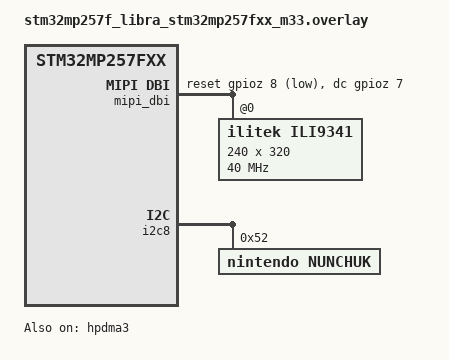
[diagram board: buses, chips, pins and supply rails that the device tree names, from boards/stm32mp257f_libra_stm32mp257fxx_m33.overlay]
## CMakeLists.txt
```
cmake_minimum_required(VERSION 3.28.0)
# Copyright (c) 2020 STMicroelectronics
#
# SPDX-License-Identifier: Apache-2.0
#

find_package(Zephyr REQUIRED HINTS $ENV{ZEPHYR_BASE})

project(demo_openamp)

target_include_directories(app PRIVATE ${LIBMETAL_INCLUDE_DIR} ${OPENAMP_INCLUDE_DIR} ${PLATFORM_DIR})

FILE(GLOB app_sources src/*.c)
target_sources(app PRIVATE ${app_sources})

# Mes fichiers UI : tout en DDR
zephyr_code_relocate(FILES src/ui.c src/show_hour.c LOCATION DDRAPP_TEXT NOCOPY)
zephyr_code_relocate(FILES src/ui.c src/show_hour.c LOCATION DDRAPP_RODATA NOCOPY)
zephyr_code_relocate(FILES src/ui.c src/show_hour.c LOCATION DDRAPP_DATA NOCOPY)
zephyr_code_relocate(FILES src/ui.c src/show_hour.c LOCATION DDRAPP_BSS)

# Lib LVGL (cœur + glue Zephyr, polices incluses)
zephyr_code_relocate(LIBRARY modules__lvgl LOCATION DDRAPP_TEXT NOCOPY)
zephyr_code_relocate(LIBRARY modules__lvgl LOCATION DDRAPP_RODATA NOCOPY)
zephyr_code_relocate(LIBRARY modules__lvgl LOCATION DDRAPP_DATA NOCOPY)
zephyr_code_relocate(LIBRARY modules__lvgl LOCATION DDRAPP_BSS)
```

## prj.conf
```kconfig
# --- Base ---
CONFIG_PRINTK=y
CONFIG_IPM=y
# CONFIG_MAIN_STACK_SIZE=1024
CONFIG_HEAP_MEM_POOL_SIZE=16384
# CONFIG_LOG=y

# --- I2C + LED (PCA9633) ---
CONFIG_I2C=y
CONFIG_LED=y
CONFIG_PCA9633=y

# --- Écran SPI (ILI9341) + DMA ---
CONFIG_SPI=y
CONFIG_SPI_STM32_DMA=y
CONFIG_DMA_STM32U5=y
CONFIG_DISPLAY=y


# --- LVGL ---
CONFIG_LVGL=y
CONFIG_LV_USE_LABEL=y
CONFIG_LV_USE_BAR=y
CONFIG_LV_FONT_MONTSERRAT_20=y
CONFIG_LV_FONT_MONTSERRAT_18=y
CONFIG_LV_FONT_MONTSERRAT_14=y
CONFIG_LV_USE_BUTTON=y
CONFIG_LV_COLOR_16_SWAP=y

# --- LVGL piles ---
CONFIG_LV_Z_MEM_POOL_SIZE=32768
CONFIG_LV_Z_FLUSH_THREAD=n
CONFIG_LV_Z_BITS_PER_PIXEL=16
CONFIG_LV_Z_DOUBLE_VDB=y
CONFIG_LV_Z_VDB_SIZE=8

# Piles élargies (nécessaire, sans ça crash silencieux avant boot)
CONFIG_MAIN_STACK_SIZE=8192
CONFIG_SYSTEM_WORKQUEUE_STACK_SIZE=8192
CONFIG_HW_STACK_PROTECTION=y
CONFIG_THREAD_STACK_INFO=n

# --- GPIO (wake up) ---
CONFIG_GPIO=y

# --- Nunchuk ---
CONFIG_INPUT=y
CONFIG_INPUT_LOG_LEVEL_OFF=y
CONFIG_INPUT_NUNCHUK=y
CONFIG_INPUT_NUNCHUK_ACCELERATION=y

# --- OpenAmp ---
CONFIG_SHELL=y
CONFIG_SHELL_BACKEND_RPMSG=y
CONFIG_OPENAMP=y
CONFIG_OPENAMP_RSC_TABLE_NUM_RPMSG_BUFF=8
CONFIG_OPENAMP_RSC_TABLE=y
CONFIG_OPENAMP_MASTER=n

# --- Remap DDR/RETRAM ---
CONFIG_CODE_DATA_RELOCATION=y

# CONFIG_LOG_MODE_IMMEDIATE=y
# CONFIG_THREAD_ANALYZER=y
# CONFIG_THREAD_ANALYZER_USE_PRINTK=y
# CONFIG_THREAD_ANALYZER_AUTO=y
```

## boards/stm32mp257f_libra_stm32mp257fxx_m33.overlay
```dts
/*
 * Copyright (C) 2025 PHYTEC Messtechnik GmbH
 * Authors: Hong-Ly Ky <h.ky@phytec.fr>
 *          Christophe Parant <c.parant@phytec.fr>
 *          Nicolas Raimundo <n.raimundo@phytec.fr>
 */
 
/delete-node/ &ddr_code;
/delete-node/ &ddr_sys;

#include <zephyr/dt-bindings/display/panel.h>
#include <zephyr/dt-bindings/input/input-event-codes.h>
#include <zephyr/dt-bindings/dma/stm32_dma.h>

/ {
	/* Remap to SRAM1 physical address */
	ddr_code: memory0@a043000 {
	reg = <0xa043000 0x1d000>;
	ranges = <0x0 0xa043000 0x1d000>;
	#address-cells = <1>;
	#size-cells = <1>;
	};

	/* Remap to RETRAM physical address */
	ddr_sys: memory1@a080000 {
	reg = <0xa080000 0x1f000>;
	ranges = <0x0 0xa080000 0x1f000>;
	#address-cells = <1>;
	#size-cells = <1>;
	};

	/* Map to DDR the DDR APP (LVGL UI)*/
	ddr_app: memory0@80100000 {
		compatible = "zephyr,memory-region", "mmio-sram";
		reg = <0x80100000 DT_SIZE_M(8)>;
		zephyr,memory-region = "DDRAPP";
	};

	aliases {
		nunchuk0 = &nunchuk;
	};

	chosen {
		/*
			* shared memory reserved for the inter-processor communication
			*/
		zephyr,ipc_shm = &ipc_shmem;
		zephyr,ipc = &mailbox;
		zephyr,display=&ili9341;
	};

	mipi_dbi {
		compatible = "zephyr,mipi-dbi-spi";
		dc-gpios = <&gpioz 7 GPIO_ACTIVE_HIGH>;
		reset-gpios = <&gpioz 8 GPIO_ACTIVE_LOW>;
		write-only;
		#address-cells = <1>;
		#size-cells = <0>;
		spi-dev = <&spi2>;

		ili9341: ili9341@0 {
			compatible = "ilitek,ili9341";
			mipi-max-frequency = <40000000>;
			reg = <0>;
			width = <240>;
			height = <320>;
			rotation = <180>;
			pixel-format = <PANEL_PIXEL_FORMAT_RGB_565>;
			h-mirror;
		};
	};

	soc {

		hpdma3: hpdma@40420000 {
			compatible = "st,stm32u5-dma";
			#dma-cells = <3>;
			reg = <0x40420000 0x1000>;
			clocks = <&rcc STM32_CLOCK(HPDMA3, 1)>;
			interrupts = <65 0>, <66 0>, <67 0>, <68 0>, <69 0>, <70 0>, <71 0>, <72 0>,
			<73 0>, <74 0>, <75 0>, <76 0>, <77 0>, <78 0>, <79 0>, <80 0>;
			dma-channels = <16>;
			dma-requests = <184>;
			status = "okay";
		};

	};

	ipc_shmem: memory1@81200000 {
		compatible = "mmio-sram";
		reg = <0x81200000 DT_SIZE_M(1)>;
	};
};


&i2c8 {
	status = "okay";
	nunchuk: joystick@52 {
		compatible = "nintendo,nunchuk";
		reg = <0x52>;
		status = "okay";
	};
};

&spi2 {
    dmas = <&hpdma3 0 51 (STM32_DMA_PERIPH_RX | STM32_DMA_PRIORITY_MEDIUM)>,
           <&hpdma3 1 52 (STM32_DMA_PERIPH_TX | STM32_DMA_PRIORITY_MEDIUM)>;
    dma-names = "rx", "tx";
};
```

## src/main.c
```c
#include <zephyr/kernel.h>
#include <zephyr/logging/log.h>

#include "ui.h"
#include "cubes.h"

LOG_MODULE_DECLARE(openamp_rsc_table);

K_THREAD_STACK_DEFINE(thread_mng_stack, APP_TASK_STACK_SIZE);
K_THREAD_STACK_DEFINE(thread_tty_stack, APP_TTY_TASK_STACK_SIZE);

static struct k_thread thread_mng_data;
static struct k_thread thread_tty_data;

int main(void)
{
	LOG_INF("Starting application threads!");
	k_thread_create(&thread_mng_data, thread_mng_stack, APP_TASK_STACK_SIZE,
			rpmsg_mng_task,
			NULL, NULL, NULL, K_PRIO_COOP(8), 0, K_NO_WAIT);
	k_thread_create(&thread_tty_data, thread_tty_stack, APP_TTY_TASK_STACK_SIZE,
			app_rpmsg_tty,
			NULL, NULL, NULL, K_PRIO_COOP(7), 0, K_NO_WAIT);
	
	k_msleep(500);

	struct nunchuk_data_t actual_nunchuk = read_nunchuk();
	static enum main_state_t state = AWAKE;
	static enum main_state_t previous_state = AWAKE;
	static bool entry=false;
	while(1){
		actual_nunchuk = read_nunchuk();

		switch(state){
			case AWAKE:
				if (display(actual_nunchuk)==ID_SLEEP) {
					state=SLEEPING;
				};
				break;
			case SLEEPING:
				if(entry){
					int r = init_screen_cubes();
					if (r==-1){
						printk("ERROR INIT SCREEN CUBES");
						return -1;
					}	
				}
				if (cubes_screen(actual_nunchuk)==ID_WAKE){
					state=WAKING;
				}
				break;
			case WAKING:
				ui_resume();
				state = AWAKE;

				break;
			default:
				break;
		}
		entry = !(state==previous_state);
		previous_state=state;
		updateTime();
	}
	return 0;
}
```

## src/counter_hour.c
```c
#include "counter_hour.h"
static struct counter_clock_t counter_clock;

static int64_t time_start;
static int64_t time_now;

static bool init_time = false;

struct counter_clock_t getClock(){
    return counter_clock;
}

void setClock(struct counter_clock_t received_clock){
    counter_clock.year = received_clock.year;
    counter_clock.month = received_clock.month;
    counter_clock.day = received_clock.day;
    counter_clock.hour = received_clock.hour;
    counter_clock.minutes = received_clock.minutes;
    counter_clock.seconds = 0;
}

void updateTime(){
    if(!init_time){
        time_start = k_uptime_get();
        init_time=true;
    }
    time_now = k_uptime_get();

    if(time_now-time_start>=1000){
        counter_clock.seconds++;
        time_start=time_now;
    }

    if(counter_clock.seconds >= 60){
        counter_clock.seconds = 0;
        counter_clock.minutes++;

        if(counter_clock.minutes >= 60){
            counter_clock.minutes = 0;
            counter_clock.hour++;

            if(counter_clock.hour >= 24){
                counter_clock.hour = 0;
                counter_clock.day++;

                if(counter_clock.day > days_in_month(counter_clock.month+1,counter_clock.year)){
                    counter_clock.day = 1;

                    if(counter_clock.month == 11){
                        counter_clock.month = 0;
                        counter_clock.year++;
                    }else{
                        counter_clock.month++;
                    }
                }
            }
        }
    }
}

int days_in_month(int month, int year){
    static const int days[] = {31,28,31,30,31,30,31,31,30,31,30,31};
    if (month == 2 && (year % 4 == 0 && (year % 100 != 0 || year % 400 == 0))) {
        return 29;
    }
    return days[month - 1];
}
```

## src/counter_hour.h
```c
#include <zephyr/kernel.h>

#ifndef COUNTER_HOUR_H
#define COUNTER_HOUR_H

struct counter_clock_t {
    int year;
    int month;
    int day;
    int hour;
    int minutes;
    int seconds;
};

struct counter_clock_t getClock(void);
void setClock(struct counter_clock_t received_clock);
void updateTime(void);
int days_in_month(int month, int year);

#endif /* COUNTER_HOUR_H */
```

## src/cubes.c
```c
#include <zephyr/kernel.h>
#include <zephyr/device.h>
#include <zephyr/drivers/display.h>
#include <zephyr/sys/byteorder.h>
#include <zephyr/drivers/led.h>
#include <zephyr/drivers/gpio.h>
#include <string.h>

#include "cubes.h"

#define SCALE        3
#define FONT_W       5
#define FONT_H       7
#define GW           (FONT_W * SCALE)
#define GH           (FONT_H * SCALE)
#define GAP          SCALE
#define NB_CHARS     8

#define COLOR_BG     0xFFFF
#define COLOR_FG     0x0000

#define RED_LED   0
#define GREEN_LED 1
#define BLUE_LED  2
#define PIN_NODE  DT_NODELABEL(gpioa)

#define GLYPH_COLON  10
#define GLYPH_NONE   0xFF

#define CUBE_W 20
#define CUBE_H 20

static const uint8_t font5x7[11][FONT_H] = {
    {0x0E, 0x11, 0x13, 0x15, 0x19, 0x11, 0x0E}, /* 0 */
    {0x04, 0x0C, 0x04, 0x04, 0x04, 0x04, 0x0E}, /* 1 */
    {0x0E, 0x11, 0x01, 0x02, 0x04, 0x08, 0x1F}, /* 2 */
    {0x1F, 0x02, 0x04, 0x02, 0x01, 0x11, 0x0E}, /* 3 */
    {0x02, 0x06, 0x0A, 0x12, 0x1F, 0x02, 0x02}, /* 4 */
    {0x1F, 0x10, 0x1E, 0x01, 0x01, 0x11, 0x0E}, /* 5 */
    {0x06, 0x08, 0x10, 0x1E, 0x11, 0x11, 0x0E}, /* 6 */
    {0x1F, 0x01, 0x02, 0x04, 0x08, 0x08, 0x08}, /* 7 */
    {0x0E, 0x11, 0x11, 0x0E, 0x11, 0x11, 0x0E}, /* 8 */
    {0x0E, 0x11, 0x11, 0x0F, 0x01, 0x02, 0x0C}, /* 9 */
    {0x00, 0x04, 0x04, 0x00, 0x04, 0x04, 0x00}, /* : */
};
static struct counter_clock_t c;
static uint8_t txt[NB_CHARS];

static const struct device *display_dev;
static const struct device *rgb;
static const struct device *gpio_wake_up;
static struct display_capabilities caps;

static uint16_t glyph_buf[GW * GH];

static uint16_t x0;
static uint16_t y0;
static uint8_t  shown[NB_CHARS];

static int64_t time_rgb = 0;
static int r = 100, g = 0, b = 0;
static int z_state = 0;
static int z_previous = 0;

static void change_color_led_rgb(int *r, int *g, int *b);
static void update_clock(void);

enum joy_state { 
    JOY_CENTER, 
    JOY_LEFT, 
    JOY_RIGHT 
};

static enum joy_state now = JOY_CENTER;
static enum joy_state last = JOY_CENTER;
static uint16_t cube_color = sys_cpu_to_be16(0xFFFF);
static uint16_t buf_color[CUBE_W * CUBE_H];
static uint16_t cube_x;
static uint16_t cube_y;
static bool reset_cube = false;
static int64_t time_start;
static int64_t time_now;
static struct display_buffer_descriptor desc = {
    .buf_size = sizeof(buf_color),
    .width    = CUBE_W,
    .height   = CUBE_H,
    .pitch    = CUBE_W,
}; 

static void draw_glyph(uint8_t idx, uint16_t px, uint16_t py)
{
    const uint16_t fg = sys_cpu_to_be16(COLOR_FG);
    const uint16_t bg = sys_cpu_to_be16(COLOR_BG);
    const struct display_buffer_descriptor d = {
        .buf_size = sizeof(glyph_buf),
        .width    = GW,
        .height   = GH,
        .pitch    = GW,
    };

    for (int y = 0; y < GH; y++) {
        uint8_t row = font5x7[idx][y / SCALE];
        for (int x = 0; x < GW; x++) {
            bool on = row & (1 << (FONT_W - 1 - (x / SCALE)));
            glyph_buf[y * GW + x] = on ? fg : bg;
        }
    }
    display_write(display_dev, px, py, &d, glyph_buf);
}

static void clear_screen(void)
{
    const uint16_t bg = sys_cpu_to_be16(COLOR_BG);

    for (int i = 0; i < GW * GH; i++) {
        glyph_buf[i] = bg;
    }

    for (uint16_t by = 0; by < caps.y_resolution; by += GH) {
        for (uint16_t bx = 0; bx < caps.x_resolution; bx += GW) {
            uint16_t w = MIN(GW, caps.x_resolution - bx);
            uint16_t h = MIN(GH, caps.y_resolution - by);
            struct display_buffer_descriptor d = {
                .buf_size = w * h * sizeof(uint16_t),
                .width    = w,
                .height   = h,
                .pitch    = w,
            };
            display_write(display_dev, bx, by, &d, glyph_buf);
        }
    }
}

int init_screen_cubes(void)
{
    display_dev = DEVICE_DT_GET(DT_CHOSEN(zephyr_display));
    if (!device_is_ready(display_dev)) {
        printk("Display non pret\n");
        return -1;
    }

    rgb = DEVICE_DT_GET(DT_ALIAS(rgb_led0));
    if (!device_is_ready(rgb)) {
        printk("PCA9633 not ready\n");
        return -1;
    }

    gpio_wake_up = DEVICE_DT_GET(PIN_NODE);
    if (!device_is_ready(gpio_wake_up)) {
        printk("GPIOA pas prêt\n");
        return -1;
    }

    gpio_pin_configure(gpio_wake_up, 3, GPIO_OUTPUT_LOW);
    display_get_capabilities(display_dev, &caps);
    clear_screen();

    const uint16_t total_w = NB_CHARS * GW + (NB_CHARS - 1) * GAP;
    x0 = (caps.x_resolution - total_w) / 2;
    y0 = (caps.y_resolution - GH) / 4;

    update_clock();

    for (int i = 0; i < NB_CHARS; i++) {
        draw_glyph(txt[i], x0 + i * (GW + GAP), y0);
        shown[i] = txt[i];
    }
    cube_x = (caps.x_resolution - CUBE_W) / 2;
    cube_y = (caps.y_resolution - CUBE_H) / 2;
    cube_color = sys_cpu_to_be16(0x001F);
    display_write(display_dev,cube_x+50,cube_y,&desc,buf_color);
    display_write(display_dev,cube_x-50,cube_y,&desc,buf_color);
    display_blanking_off(display_dev);
    time_rgb = k_uptime_get();
    time_start = k_uptime_get();
    time_now = k_uptime_get();

    
    return 0;
}

int cubes_screen(struct nunchuk_data_t actual_nunchuk)
{
    z_state = actual_nunchuk.btn_z;

    if ((z_state == 1) && (z_state != z_previous)) {
        gpio_pin_set(gpio_wake_up, 3, 1);
        k_msleep(1000);
        gpio_pin_set(gpio_wake_up, 3, 0);
        return ID_WAKE;
    }

    if (actual_nunchuk.joystick_x < 110) {
        now = JOY_LEFT;
    } else if (actual_nunchuk.joystick_x >= 140) {
        now = JOY_RIGHT;
    } else {
        now = JOY_CENTER;
    }

    if (now != last) {
            if (now == JOY_LEFT) {
                cube_color = sys_cpu_to_be16(0xF800);
                reset_cube=true;
                for (int i = 0; i < CUBE_W * CUBE_H; i++) {
                    buf_color[i] = cube_color;
	            }
                display_write(display_dev,cube_x-50,cube_y,&desc,buf_color);
                time_start = k_uptime_get();

            } else if (now == JOY_RIGHT) {
                cube_color = sys_cpu_to_be16(0xF800);
                reset_cube=true;
                for (int i = 0; i < CUBE_W * CUBE_H; i++) {
                    buf_color[i] = cube_color;
	            }
                display_write(display_dev,cube_x+50,cube_y,&desc,buf_color);
                time_start = k_uptime_get();
                
            }
        }

        if(reset_cube && ((time_now-time_start)>=5 && now != last)) {
            reset_cube=false;
            cube_color = sys_cpu_to_be16(0x001F);

            for (int i = 0; i < CUBE_W * CUBE_H; i++) {
                buf_color[i] = cube_color;
            }

            display_write(display_dev,cube_x+50,cube_y,&desc,buf_color);
            display_write(display_dev,cube_x-50,cube_y,&desc,buf_color);
            
        }

    update_clock();

    for (int i = 0; i < NB_CHARS; i++) {
        if (txt[i] != shown[i]) {
            draw_glyph(txt[i], x0 + i * (GW + GAP), y0);
            shown[i] = txt[i];
        }
    }

    int64_t now = k_uptime_get();
    if (now - time_rgb > 5) {
        change_color_led_rgb(&r, &g, &b);
        led_set_brightness(rgb, RED_LED, r);
        led_set_brightness(rgb, GREEN_LED, g);
        led_set_brightness(rgb, BLUE_LED, b);
        time_rgb = now;
    }
    last = now;
    time_now = k_uptime_get();
    z_previous = z_state;
    k_msleep(10);
    return 0;
}

static void change_color_led_rgb(int *r, int *g, int *b)
{
    if ((*r == 100) && (*g < 100) && (*b == 0)) {
        (*g)++;
    } else if ((*r > 0) && (*g == 100) && (*b == 0)) {
        (*r)--;
    } else if ((*r == 0) && (*g == 100) && (*b < 100)) {
        (*b)++;
    } else if ((*r == 0) && (*g > 0) && (*b == 100)) {
        (*g)--;
    } else if ((*r < 100) && (*g == 0) && (*b == 100)) {
        (*r)++;
    } else if ((*r == 100) && (*g == 0) && (*b > 0)) {
        (*b)--;
    }
}

static void update_clock(){
    c = getClock();
    txt[0] = c.hour / 10;
    txt[1] = c.hour % 10;
    txt[2] = GLYPH_COLON;
    txt[3] = c.minutes / 10;
    txt[4] = c.minutes % 10;
    txt[5] = GLYPH_COLON;
    txt[6] = c.seconds / 10;
    txt[7] = c.seconds % 10;
}
```

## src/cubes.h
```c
#include <zephyr/kernel.h>
#include "nunchuk.h"
#include "counter_hour.h"

#define ID_WAKE 2

int cubes_screen(struct nunchuk_data_t actual_nunchuk);
int init_screen_cubes(void);
```

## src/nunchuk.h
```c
#ifndef NUNCHUK_H
#define NUNCHUK_H

#define INPUT_KEY_Z_NUNCHUK 309
#define INPUT_KEY_C_NUNCHUK 306

#include <stdint.h>
#include <stdbool.h>

struct nunchuk_data_t {
    uint8_t joystick_x;
    uint8_t joystick_y;
    uint16_t accel_x;
    uint16_t accel_y;
    uint16_t accel_z;
    bool btn_c;
    bool btn_z;
};

struct nunchuk_data_t read_nunchuk(void);

#endif /* NUNCHUK_H */
```

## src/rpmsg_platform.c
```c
/*
 * Copyright (c) 2026, PHYTEC
 *
 * SPDX-License-Identifier: Apache-2.0
 */

#include <zephyr/kernel.h>
#include <zephyr/device.h>
#include <zephyr/sys/atomic.h>
#include <zephyr/drivers/ipm.h>
#include <zephyr/logging/log.h>

#include <errno.h>
#include <stdbool.h>
#include <stddef.h>
#include <stdint.h>
#include <string.h>
#include <stdio.h>

#include <metal/sys.h>
#include <metal/io.h>
#include <resource_table.h>
#include <addr_translation.h>

#ifdef CONFIG_SHELL_BACKEND_RPMSG
#include <zephyr/shell/shell_rpmsg.h>
#endif

#include "rpmsg_platform.h"

LOG_MODULE_REGISTER(openamp_rsc_table);

#define SHM_DEVICE_NAME      "shm"

#define TTY_MAX_MSG_LEN      128
#define TTY_RX_QUEUE_LEN     4

#if !DT_HAS_CHOSEN(zephyr_ipc_shm)
#error "Sample requires definition of shared memory for rpmsg"
#endif

#if CONFIG_IPM_MAX_DATA_SIZE > 0
#define IPM_SEND(dev, w, id, d, s) ipm_send(dev, w, id, d, s)
#else
#define IPM_SEND(dev, w, id, d, s) ipm_send(dev, w, id, NULL, 0)
#endif

#define SHM_NODE       DT_CHOSEN(zephyr_ipc_shm)
#define SHM_START_ADDR DT_REG_ADDR(SHM_NODE)
#define SHM_SIZE       DT_REG_SIZE(SHM_NODE)

static const struct device *const ipm_handle =
    DEVICE_DT_GET(DT_CHOSEN(zephyr_ipc));

static metal_phys_addr_t shm_physmap = SHM_START_ADDR;
static metal_phys_addr_t rsc_tab_physmap;

static struct metal_io_region shm_io_data;
static struct metal_io_region rsc_io_data;

static struct metal_io_region *shm_io = &shm_io_data;
static struct metal_io_region *rsc_io = &rsc_io_data;

static struct rpmsg_virtio_device rvdev;

static void *rsc_table;
static struct rpmsg_device *rpdev;

static struct rpmsg_endpoint tty_ept;

static bool tty_ready;

/* Serializes sends and changes of the suspend state. */
K_MUTEX_DEFINE(tty_send_lock);

/* Non-zero while application transmissions are blocked. */
static atomic_t tty_suspended;

static K_SEM_DEFINE(data_sem, 0, 1);

/* Released once the RPMsg device is ready, so the TTY thread can start. */
static K_SEM_DEFINE(data_tty_sem, 0, 1);

/*
 * Messages are copied out of the RPMsg callback so the TTY thread never
 * holds a pointer to a shared OpenAMP buffer.
 */
struct tty_rx_msg {
    size_t len;
    uint8_t data[TTY_MAX_MSG_LEN];
};

K_MSGQ_DEFINE(tty_rx_queue,
              sizeof(struct tty_rx_msg),
              TTY_RX_QUEUE_LEN,
              4);

void rpmsg_tty_set_suspended(bool suspended)
{
    /* Taking the lock waits for any send in progress to complete. */
    k_mutex_lock(&tty_send_lock, K_FOREVER);

    atomic_set(&tty_suspended, suspended ? 1 : 0);

    k_mutex_unlock(&tty_send_lock);

    ///LOG_INF("RPMsg application TX: %s", suspended ? "SUSPENDED" : "ACTIVE");
}

bool rpmsg_tty_is_suspended(void)
{
    return atomic_get(&tty_suspended) != 0;
}

/*
 * When allow_suspended is true, the message is sent even during SUSPEND.
 * This is only meant for the SUSPEND acknowledgment.
 */
static int rpmsg_tty_send_internal(const void *data,
                                   size_t len,
                                   bool allow_suspended)
{
    int ret;

    if (data == NULL && len != 0U) {
        return -EINVAL;
    }

    k_mutex_lock(&tty_send_lock, K_FOREVER);

    if (!allow_suspended && atomic_get(&tty_suspended) != 0) {
        ret = -EAGAIN;
    } else if (!tty_ready ||
               tty_ept.dest_addr == RPMSG_ADDR_ANY) {
        ret = -ENOTCONN;
    } else {
        ret = rpmsg_send(&tty_ept, data, len);
    }

    k_mutex_unlock(&tty_send_lock);

    return ret;
}

/* Public send API: refused with -EAGAIN while suspended. */
int rpmsg_tty_send(const void *data, size_t len)
{
    return rpmsg_tty_send_internal(data, len, false);
}

static void platform_ipm_callback(const struct device *dev,
                                  void *context,
                                  uint32_t id,
                                  volatile void *data)
{
    ARG_UNUSED(dev);
    ARG_UNUSED(context);
    ARG_UNUSED(data);

    LOG_DBG("%s: notification received, id=%u", __func__, id);

    k_sem_give(&data_sem);
}

static int rpmsg_recv_tty_callback(struct rpmsg_endpoint *ept,
                                   void *data,
                                   size_t len,
                                   uint32_t src,
                                   void *priv)
{
    struct tty_rx_msg msg;

    ARG_UNUSED(ept);
    ARG_UNUSED(src);
    ARG_UNUSED(priv);

    if (len > sizeof(msg.data)) {
        LOG_WRN("TTY message too long: %u bytes", (unsigned int)len);
        return RPMSG_SUCCESS;
    }

    msg.len = len;

    if (len > 0U) {
        memcpy(msg.data, data, len);
    }

    if (k_msgq_put(&tty_rx_queue, &msg, K_NO_WAIT) != 0) {
        LOG_WRN("TTY queue full: message dropped");
    }

    return RPMSG_SUCCESS;
}

static void receive_message(void)
{
    int status = k_sem_take(&data_sem, K_FOREVER);

    if (status == 0) {
        rproc_virtio_notified(rvdev.vdev, VRING1_ID);
    }
}

static void new_service_cb(struct rpmsg_device *rdev,
                           const char *name,
                           uint32_t src)
{
    ARG_UNUSED(rdev);
    ARG_UNUSED(src);

    LOG_ERR("%s: unexpected service: %s", __func__, name);
}

int mailbox_notify(void *priv, uint32_t id)
{
    ARG_UNUSED(priv);

    LOG_DBG("%s: notification id=%u", __func__, id);

    IPM_SEND(ipm_handle, 0, id, &id, 4);

    return 0;
}

int platform_init(void)
{
    int rsc_size;
    struct metal_init_params metal_params = METAL_INIT_DEFAULTS;
    int status;

    status = metal_init(&metal_params);

    if (status) {
        LOG_ERR("metal_init failed: %d", status);
        return -1;
    }

    metal_io_init(shm_io,
                  (void *)SHM_START_ADDR,
                  &shm_physmap,
                  SHM_SIZE,
                  -1,
                  0,
                  addr_translation_get_ops(shm_physmap));

    rsc_table_get(&rsc_table, &rsc_size);

    rsc_tab_physmap = (uintptr_t)rsc_table;

    metal_io_init(rsc_io,
                  rsc_table,
                  &rsc_tab_physmap,
                  rsc_size,
                  -1,
                  0,
                  NULL);

    if (!device_is_ready(ipm_handle)) {
        LOG_ERR("IPM device is not ready");
        metal_finish();
        return -1;
    }

    ipm_register_callback(ipm_handle, platform_ipm_callback, NULL);

    status = ipm_set_enabled(ipm_handle, 1);

    if (status) {
        LOG_ERR("ipm_set_enabled failed: %d", status);
        metal_finish();
        return -1;
    }

    return 0;
}

struct rpmsg_device *
platform_create_rpmsg_vdev(unsigned int vdev_index,
                           unsigned int role,
                           void (*rst_cb)(struct virtio_device *vdev),
                           rpmsg_ns_bind_cb ns_cb)
{
    struct fw_rsc_vdev_vring *vring_rsc;
    struct virtio_device *vdev;
    int ret;

    ARG_UNUSED(vdev_index);
    ARG_UNUSED(role);
    ARG_UNUSED(rst_cb);

    vdev = rproc_virtio_create_vdev(VIRTIO_DEV_DEVICE,
                                    VDEV_ID,
                                    rsc_table_to_vdev(rsc_table),
                                    rsc_io,
                                    NULL,
                                    mailbox_notify,
                                    NULL);

    if (!vdev) {
        LOG_ERR("Failed to create vdev");
        return NULL;
    }

    /* Block until the Linux side has finished its initialization. */
    rproc_virtio_wait_remote_ready(vdev);

    vring_rsc = rsc_table_get_vring0(rsc_table);

    ret = rproc_virtio_init_vring(vdev,
                                  0,
                                  vring_rsc->notifyid,
                                  (void *)vring_rsc->da,
                                  rsc_io,
                                  vring_rsc->num,
                                  vring_rsc->align);

    if (ret) {
        LOG_ERR("Failed to initialize vring 0: %d", ret);
        goto failed;
    }

    vring_rsc = rsc_table_get_vring1(rsc_table);

    ret = rproc_virtio_init_vring(vdev,
                                  1,
                                  vring_rsc->notifyid,
                                  (void *)vring_rsc->da,
                                  rsc_io,
                                  vring_rsc->num,
                                  vring_rsc->align);

    if (ret) {
        LOG_ERR("Failed to initialize vring 1: %d", ret);
        goto failed;
    }

    ret = rpmsg_init_vdev(&rvdev, vdev, ns_cb, shm_io, NULL);

    if (ret) {
        LOG_ERR("rpmsg_init_vdev failed: %d", ret);
        goto failed;
    }

    return rpmsg_virtio_get_rpmsg_device(&rvdev);

failed:
    rproc_virtio_remove_vdev(vdev);

    return NULL;
}

static void process_tty_message(const struct tty_rx_msg *rx)
{
    char cmd[TTY_MAX_MSG_LEN + 1];
    size_t cmd_len = rx->len;
    int ret;

    if (cmd_len > TTY_MAX_MSG_LEN) {
        cmd_len = TTY_MAX_MSG_LEN;
    }

    memcpy(cmd, rx->data, cmd_len);
    cmd[cmd_len] = '\0';

    /* Strip the trailing LF/CR added by echo on Linux. */
    while (cmd_len > 0U &&
           (cmd[cmd_len - 1U] == '\n' ||
            cmd[cmd_len - 1U] == '\r')) {
        cmd[--cmd_len] = '\0';
    }

    LOG_INF("[Linux TTY] message received: %s", cmd);

    if (strcmp(cmd, "SUSPEND") == 0) {
        if (rpmsg_tty_is_suspended()) {
            LOG_INF("Already suspended: no reply sent");
            return;
        }

        /* Block application sends before acknowledging. */
        rpmsg_tty_set_suspended(true);

        static const char ack[] = "Go to sleep...\n";

        /* The acknowledgment is the only message allowed while suspended. */
        ret = rpmsg_tty_send_internal(ack, sizeof(ack) - 1U, true);

        if (ret < 0) {
            LOG_ERR("SUSPEND ACK failed: %d", ret);
        }

        return;
    }

    if (strcmp(cmd, "RESUME") == 0) {
        rpmsg_tty_set_suspended(false);

        static const char ack[] = "Zephyr resumed\n";

        ret = rpmsg_tty_send(ack, sizeof(ack) - 1U);

        if (ret < 0) {
            LOG_ERR("RESUME ACK failed: %d", ret);
        }

        return;
    }

    if (rpmsg_tty_is_suspended()) {
        LOG_DBG("Message ignored while suspended");
        return;
    }

    {
        char tx_buff[TTY_MAX_MSG_LEN + 16];
        int prefix_len;

        prefix_len = snprintf(tx_buff,
                              sizeof(tx_buff),
                              "TTY 0x%04x: ",
                              (unsigned int)tty_ept.addr);

        if (prefix_len < 0 ||
            (size_t)prefix_len + rx->len > sizeof(tx_buff)) {
            LOG_ERR("Cannot build TTY echo");
            return;
        }

        /* Echo the original bytes, including any trailing newline. */
        memcpy(&tx_buff[prefix_len], rx->data, rx->len);

        ret = rpmsg_tty_send(tx_buff, (size_t)prefix_len + rx->len);

        if (ret < 0) {
            LOG_ERR("TTY echo failed: %d", ret);
        }
    }

    if (strcmp(cmd, "Hello") == 0) {
        static const char response[] = "Hallo !\n";

        ret = rpmsg_tty_send(response, sizeof(response) - 1U);

        if (ret < 0) {
            LOG_ERR("Failed to send Hallo: %d", ret);
        }
    }
}

void app_rpmsg_tty(void *arg1, void *arg2, void *arg3)
{
    int ret;

    ARG_UNUSED(arg1);
    ARG_UNUSED(arg2);
    ARG_UNUSED(arg3);

    /* rpdev is set by rpmsg_mng_task(); wait until it is ready. */
    k_sem_take(&data_tty_sem, K_FOREVER);

    LOG_INF("OpenAMP[remote] Linux TTY responder started");

    ret = rpmsg_create_ept(&tty_ept,
                           rpdev,
                           "rpmsg-tty",
                           RPMSG_ADDR_ANY,
                           RPMSG_ADDR_ANY,
                           rpmsg_recv_tty_callback,
                           NULL);

    if (ret) {
        LOG_ERR("[Linux TTY] Cannot create endpoint: %d", ret);
        return;
    }

    k_mutex_lock(&tty_send_lock, K_FOREVER);
    tty_ready = true;
    k_mutex_unlock(&tty_send_lock);

    LOG_INF("[Linux TTY] Endpoint created: addr=0x%x", tty_ept.addr);

    while (tty_ept.addr != RPMSG_ADDR_ANY) {
        struct tty_rx_msg rx;

        ret = k_msgq_get(&tty_rx_queue, &rx, K_FOREVER);

        if (ret == 0) {
            process_tty_message(&rx);
        }
    }

    k_mutex_lock(&tty_send_lock, K_FOREVER);
    tty_ready = false;
    k_mutex_unlock(&tty_send_lock);

    rpmsg_destroy_ept(&tty_ept);

    LOG_INF("OpenAMP Linux TTY responder ended");
}

void rpmsg_mng_task(void *arg1, void *arg2, void *arg3)
{
    int ret;

    ARG_UNUSED(arg1);
    ARG_UNUSED(arg2);
    ARG_UNUSED(arg3);

    LOG_INF("OpenAMP[remote] Linux responder demo started");

    ret = platform_init();

    if (ret) {
        LOG_ERR("Platform initialization failed");
        return;
    }

    rpdev = platform_create_rpmsg_vdev(0,
                                       VIRTIO_DEV_DEVICE,
                                       NULL,
                                       new_service_cb);

    if (!rpdev) {
        LOG_ERR("Failed to create RPMsg device");

        ipm_set_enabled(ipm_handle, 0);
        metal_finish();

        return;
    }

#ifdef CONFIG_SHELL_BACKEND_RPMSG
    (void)shell_backend_rpmsg_init_transport(rpdev);
#endif

    k_sem_give(&data_tty_sem);

    /*
     * Keep processing RX notifications at all times, even during SUSPEND:
     * Linux must still be able to send RESUME.
     */
    while (1) {
        receive_message();
    }
}
```

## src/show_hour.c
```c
#include "show_hour.h"

static lv_obj_t *page_init_show_hour;

static lv_obj_t * roller_day ;
static lv_obj_t * roller_month ;
static lv_obj_t * roller_year;
static lv_obj_t * roller_hour;
static lv_obj_t * roller_minute;

static struct counter_clock_t clock_data; 

static bool check_init=false;

static void set_day_roller_options(lv_obj_t *roller, int nb_days);
static void event_cb(lv_event_t * e);

static void event_cb(lv_event_t *e){
    
    int month = lv_roller_get_selected(roller_month) + 1;
    int year = lv_roller_get_selected(roller_year) + 1950;
    int old_day = lv_roller_get_selected(roller_day) + 1;
    int nb_days = days_in_month(month,year);

    if(old_day > nb_days){
        old_day = nb_days;
    }
    set_day_roller_options(roller_day,nb_days);
    lv_roller_set_selected(roller_day,old_day - 1,false);
}

static void set_day_roller_options(lv_obj_t *roller, int nb_days){
    char buf[128];
    size_t offset = 0;

    for (int i = 1; i <= nb_days; i++) {
        offset += snprintf(buf + offset, sizeof(buf) - offset,
                            "%d%s", i, (i < nb_days) ? "\n" : "");
    }

    lv_roller_set_options(roller, buf, LV_ROLLER_MODE_NORMAL);
}

static void init_date_hour_cb(lv_event_t *e){

    bool *initialized = lv_event_get_user_data(e);

    clock_data.day=lv_roller_get_selected(roller_day)+1;
    clock_data.month=lv_roller_get_selected(roller_month);
    clock_data.year=lv_roller_get_selected(roller_year)+1950;
    clock_data.hour=lv_roller_get_selected(roller_hour);
    clock_data.minutes=lv_roller_get_selected(roller_minute);
    setClock(clock_data);
    *initialized=true;

    lv_obj_set_hidden(page_init_show_hour, true);
}

void init_info_show_hour(lv_obj_t *screen,lv_obj_t *current_page,bool *initialized){

    if(!check_init){
        lv_obj_t * scr = screen;

        page_init_show_hour = lv_obj_create(scr);
        lv_obj_set_size(page_init_show_hour, lv_pct(100), lv_pct(100));
        lv_obj_center(page_init_show_hour);
        lv_obj_set_style_bg_opa(page_init_show_hour, LV_OPA_TRANSP, LV_PART_MAIN);
        lv_obj_set_scrollable(page_init_show_hour, false);

        roller_day = lv_roller_create(page_init_show_hour);

        char buf_day[128];
        size_t offset_day = 0;
        for (int i = 1; i <= 31; i++) {
            offset_day += snprintf(buf_day + offset_day, sizeof(buf_day) - offset_day,
                                "%d%s", i, (i < 31) ? "\n" : "");
        }
        lv_roller_set_options(roller_day, buf_day, LV_ROLLER_MODE_NORMAL);
        lv_roller_set_visible_row_count(roller_day, 3);
        lv_obj_align(roller_day,LV_ALIGN_CENTER,-80,-50);

        roller_month = lv_roller_create(page_init_show_hour);
        lv_obj_set_width(roller_month, 100);
        lv_roller_set_options(roller_month, "JANUARY\nFEBRUARY\nMARCH\nAPRIL\nMAY\nJUNE\nJULY\nAUGUST\nSEPTEMBER\nOCTOBER\nNOVEMBER\nDECEMBER", LV_ROLLER_MODE_NORMAL);
        lv_roller_set_visible_row_count(roller_month, 3);
        lv_obj_add_event_cb(roller_month, event_cb, LV_EVENT_VALUE_CHANGED, NULL);
        lv_obj_align(roller_month,LV_ALIGN_CENTER,-5,-50);


        roller_year = lv_roller_create(page_init_show_hour);
        char buf_year[600];
        size_t offset_year = 0;
        for (int i = 1950; i <= 2050; i++) {
            offset_year += snprintf(buf_year + offset_year, sizeof(buf_year) - offset_year,
                                "%d%s", i, (i < 2050) ? "\n" : "");
        }
        lv_roller_set_options(roller_year, buf_year, LV_ROLLER_MODE_NORMAL);
        lv_roller_set_visible_row_count(roller_year, 3);
        lv_obj_add_event_cb(roller_year, event_cb, LV_EVENT_VALUE_CHANGED, NULL);
        lv_obj_align(roller_year,LV_ALIGN_CENTER,80,-50);
        lv_roller_set_selected(roller_year, 75, false);


        roller_hour = lv_roller_create(page_init_show_hour);
        char buf_hour[72];
        size_t offset_hour = 0;
        for (int i = 0; i <= 23; i++) {
            offset_hour += snprintf(buf_hour + offset_hour, sizeof(buf_hour) - offset_hour,
                                "%d%s", i, (i < 23) ? "\n" : "");
        }
        lv_roller_set_options(roller_hour, buf_hour, LV_ROLLER_MODE_INFINITE);
        lv_roller_set_visible_row_count(roller_hour, 3);
        lv_obj_align(roller_hour,LV_ALIGN_CENTER,-30,50);

        roller_minute = lv_roller_create(page_init_show_hour);
        char buf_minute[240];
        size_t offset_minute = 0;
        for (int i = 0; i <= 59; i++) {
            offset_minute += snprintf(buf_minute + offset_minute, sizeof(buf_minute) - offset_minute,
                                "%d%s", i, (i < 59) ? "\n" : "");
        }
        lv_roller_set_options(roller_minute, buf_minute, LV_ROLLER_MODE_INFINITE);
        lv_roller_set_visible_row_count(roller_minute, 3);
        lv_obj_align(roller_minute,LV_ALIGN_CENTER,30,50);


        lv_obj_t *label_sep = lv_label_create(page_init_show_hour);
        lv_obj_t *btn_init = lv_btn_create(page_init_show_hour);

        lv_obj_set_style_text_font(label_sep,&lv_font_montserrat_18,LV_PART_MAIN);
        lv_label_set_text(label_sep,":");
        lv_obj_align(label_sep,LV_ALIGN_CENTER,0,50);

        lv_obj_t *label_btn = lv_label_create(btn_init);
        lv_label_set_text(label_btn,"Enter");
        lv_obj_center(label_btn);

        lv_obj_align(btn_init,LV_ALIGN_CENTER,0,120);
        lv_obj_set_size(btn_init,150,30);
        lv_obj_set_style_bg_color(btn_init,lv_color_hex(BTN_COLOR),LV_PART_MAIN);
        lv_obj_add_event_cb(btn_init,init_date_hour_cb,LV_EVENT_CLICKED,initialized);


        lv_obj_t *label_title = lv_label_create(page_init_show_hour);
        lv_obj_set_style_text_font(label_title,&lv_font_montserrat_20,LV_PART_MAIN);
        lv_label_set_text(label_title,"SELECT HOUR DAY");
        lv_obj_align(label_title,LV_ALIGN_CENTER,0,-125);

        check_init = true;
    }
    lv_obj_set_hidden(page_init_show_hour, false);
    lv_obj_set_scrollable(page_init_show_hour, false);
    lv_obj_set_hidden(current_page, true);
}

void update_show_hour(lv_obj_t *hour_label,lv_obj_t *date_label){
    clock_data = getClock();
    set_show_hour(hour_label,date_label);
}

void set_show_hour(lv_obj_t *hour_label,lv_obj_t *date_label){
    static const char *month_names[] = {
        "JANUARY",
        "FEBRUARY",
        "MARCH",
        "APRIL",
        "MAY",
        "JUNE",
        "JULY",
        "AUGUST",
        "SEPTEMBER",
        "OCTOBER",
        "NOVEMBER",
        "DECEMBER"
    };

    lv_label_set_text_fmt(hour_label,"%02d:%02d:%02d",clock_data.hour,clock_data.minutes,clock_data.seconds);
    lv_label_set_text_fmt(date_label,"%d %s %d",clock_data.day,month_names[clock_data.month],clock_data.year);
}

void reset_show_hour(void){
    check_init = false;
    page_init_show_hour = NULL;
    roller_day = NULL;
    roller_month = NULL;
    roller_year = NULL;
    roller_hour = NULL;
    roller_minute = NULL;
}
```

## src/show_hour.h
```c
#include <zephyr/kernel.h>
#include <lvgl.h>
#include "counter_hour.h"

#define BTN_COLOR 0x0000FF 

void init_info_show_hour(lv_obj_t *screen,lv_obj_t *page_init,bool *initialized);
void update_show_hour(lv_obj_t *hour_label,lv_obj_t *date_label);
void set_show_hour(lv_obj_t *hour_label,lv_obj_t *date_label);
void reset_show_hour(void);
```

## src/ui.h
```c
#include <zephyr/kernel.h>

#include <lvgl.h>

#include "nunchuk.h"
#include "show_hour.h"
#include "rpmsg_platform.h"

#define MIN_DEADZONE_JOYSTICK 110
#define MAX_DEADZONE_JOYSTICK 140

#define MIN_DEADZONE_ACCELEROMETER 448
#define MAX_DEADZONE_ACCELEROMETER 576

#define ZEROING_POS 130
#define ZEROING_POS_ACC 512
#define RESCALING_JOYSTICK 24
#define RESCALING_ACCELEROMETER 32

#define CURSOR_SIZE 10
#define BTN_START_X 0
#define BTN_START_Y 25
#define BTN_START_WIDTH 50
#define BTN_START_LENGTH 100
#define BTN_SCROLL_SIZE 50
#define BTN_SCROLL_BORDER_SIZE 5

#define BTN_COLOR 0x0000FF 
#define INIT_CURSOR_COLOR 0xFF0010
#define BTN_PRESSED_COLOR 0xBA0000
#define SWITCH_CURSOR_COLOR 0xFFFF00

#define BAR_W 180
#define BAR_H 60

#define RED_LED   0
#define GREEN_LED 1
#define BLUE_LED  2

#define ID_SLEEP 1

struct cursor_position_t {
    int x;
    int y;
    bool gyro;
    uint32_t color;
};

struct state_button_t {
    bool c;
    bool z;
};

enum state_t {
    INIT,
    SHOW_HOUR,
    SHOW_HOUR_INIT,
    RGB_LED,
    CTRL_A35,
    REBOOT_M33,
    GO_TO_SLEEP
};

enum main_state_t {
    AWAKE,
    SLEEPING,
    WAKING
};

int display(struct nunchuk_data_t actual_nunchuk);
void ui_resume(void);
```
